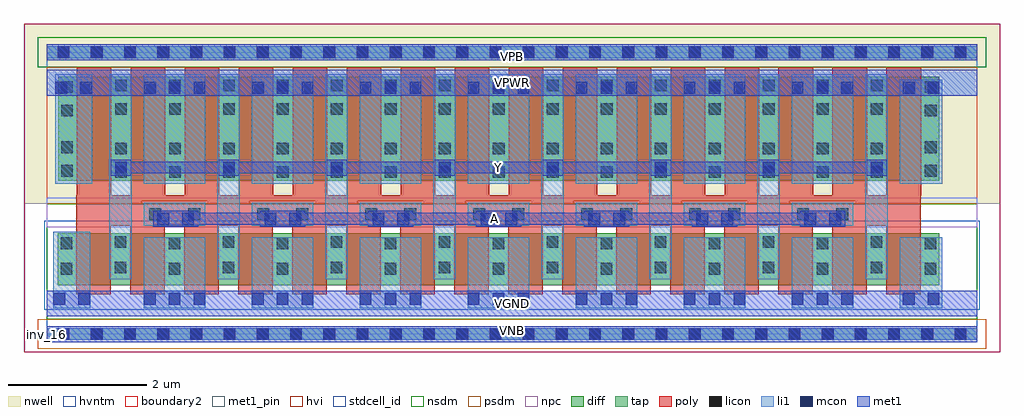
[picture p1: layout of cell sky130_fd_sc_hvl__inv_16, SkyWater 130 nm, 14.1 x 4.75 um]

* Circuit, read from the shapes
.subckt sky130_fd_sc_hvl__inv_16 A VGND VNB VPB VPWR Y
XM1 Y A VGND VNB sky130_fd_pr__nfet_g5v0d10v5 w=0.75 l=0.5 m=16
XM2 Y A VPWR VPB sky130_fd_pr__pfet_g5v0d10v5 w=1.5 l=0.5 m=16
.ends

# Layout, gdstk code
import gdstk
lib = gdstk.Library(unit=1e-6, precision=1e-09)
def R(c, l, rs):  # rectangles x0, y0, x1, y1
    for r in rs: c.add(gdstk.rectangle(r[:2], r[2:], *l))
def A(c, l, x, y, w, h, nx, ny, dx, dy):  # array of equal rectangles
    R(c, l, [(x+i*dx, y+j*dy, x+i*dx+w, y+j*dy+h) for i in range(nx) for j in range(ny)])
def P(c, l, *ps):  # polygons
    for p in ps: c.add(gdstk.Polygon(p, *l))
nwell = (64, 20)
diff = (65, 20)
tap = (65, 44)
poly = (66, 20)
licon = (66, 44)
li1 = (67, 20)
mcon = (67, 44)
met1_pin = (68, 16)
met1 = (68, 20)
hvi = (75, 20)
stdcell_id = (81, 4)
nsdm = (93, 44)
psdm = (94, 20)
npc = (95, 20)
hvntm = (125, 20)
boundary2 = (236, 0)

sky130_fd_sc_hvl__inv_16 = lib.new_cell('sky130_fd_sc_hvl__inv_16')
R(sky130_fd_sc_hvl__inv_16, nwell, [(-0.33,1.885,13.77,4.485)])
R(sky130_fd_sc_hvl__inv_16, diff, [(0.16,0.705,12.895,1.455), (0.165,2.215,12.895,3.715)])
R(sky130_fd_sc_hvl__inv_16, tap, [(0,-0.085,13.44,0.085), (0,3.985,13.44,4.155)])
P(sky130_fd_sc_hvl__inv_16, poly, [(12.63,3.845),(12.13,3.845),(12.13,2.005),(11.85,2.005),(11.85,3.845),(11.35,3.845),(11.35,2.005),(11.07,2.005),(11.07,3.845),(10.57,3.845),(10.57,2.005),(10.29,2.005),(10.29,3.845),(9.79,3.845),(9.79,2.005),(9.51,2.005),(9.51,3.845),(9.01,3.845),(9.01,2.005),(8.73,2.005),(8.73,3.845),(8.23,3.845),(8.23,2.005),(7.95,2.005),(7.95,3.845),(7.45,3.845),(7.45,2.005),(7.17,2.005),(7.17,3.845),(6.67,3.845),(6.67,2.005),(6.39,2.005),(6.39,3.845),(5.89,3.845),(5.89,2.005),(5.61,2.005),(5.61,3.845),(5.11,3.845),(5.11,2.005),(4.83,2.005),(4.83,3.845),(4.33,3.845),(4.33,2.005),(4.05,2.005),(4.05,3.845),(3.55,3.845),(3.55,2.005),(3.27,2.005),(3.27,3.845),(2.77,3.845),(2.77,2.005),(2.49,2.005),(2.49,3.845),(1.99,3.845),(1.99,2.005),(1.71,2.005),(1.71,3.845),(1.21,3.845),(1.21,2.005),(0.93,2.005),(0.93,3.845),(0.43,3.845),(0.43,2.005),(0.425,2.005),(0.425,0.575),(0.925,0.575),(0.925,1.565),(1.205,1.565),(1.205,0.575),(1.705,0.575),(1.705,1.565),(1.985,1.565),(1.985,0.575),(2.485,0.575),(2.485,1.565),(2.765,1.565),(2.765,0.575),(3.265,0.575),(3.265,1.565),(3.545,1.565),(3.545,0.575),(4.045,0.575),(4.045,1.565),(4.325,1.565),(4.325,0.575),(4.825,0.575),(4.825,1.565),(5.105,1.565),(5.105,0.575),(5.605,0.575),(5.605,1.565),(5.885,1.565),(5.885,0.575),(6.385,0.575),(6.385,1.565),(6.665,1.565),(6.665,0.575),(7.165,0.575),(7.165,1.565),(7.445,1.565),(7.445,0.575),(7.945,0.575),(7.945,1.565),(8.225,1.565),(8.225,0.575),(8.725,0.575),(8.725,1.565),(9.005,1.565),(9.005,0.575),(9.505,0.575),(9.505,1.565),(9.785,1.565),(9.785,0.575),(10.285,0.575),(10.285,1.565),(10.565,1.565),(10.565,0.575),(11.065,0.575),(11.065,1.565),(11.345,1.565),(11.345,0.575),(11.845,0.575),(11.845,1.565),(12.125,1.565),(12.125,0.575),(12.625,0.575),(12.625,2),(12.63,2)])
A(sky130_fd_sc_hvl__inv_16, licon, 0.155, -0.085, 0.17, 0.17, 28, 2, 0.48, 4.07)
A(sky130_fd_sc_hvl__inv_16, licon, 0.2, 0.86, 0.17, 0.17, 9, 2, 1.56, 0.365)
A(sky130_fd_sc_hvl__inv_16, licon, 0.98, 0.875, 0.17, 0.17, 8, 2, 1.56, 0.37)
A(sky130_fd_sc_hvl__inv_16, licon, 0.985, 2.255, 0.17, 0.17, 15, 2, 0.78, 0.34)
A(sky130_fd_sc_hvl__inv_16, licon, 0.985, 3.165, 0.17, 0.17, 15, 2, 0.78, 0.34)
R(sky130_fd_sc_hvl__inv_16, licon, [(1.48,1.645,1.65,1.815), (2.045,1.645,2.215,1.815), (3.04,1.645,3.21,1.815), (3.605,1.645,3.775,1.815), (4.6,1.645,4.77,1.815), (5.165,1.645,5.335,1.815), (6.16,1.645,6.33,1.815), (6.725,1.645,6.895,1.815), (7.72,1.645,7.89,1.815), (8.285,1.645,8.455,1.815), (9.28,1.645,9.45,1.815), (9.845,1.645,10.015,1.815), (10.84,1.645,11.01,1.815), (11.405,1.645,11.575,1.815), (0.205,2.275,0.375,2.445), (12.685,2.275,12.855,2.445), (0.205,2.615,0.375,2.785), (12.685,2.615,12.855,2.785), (0.205,3.145,0.375,3.315), (12.685,3.145,12.855,3.315), (0.205,3.485,0.375,3.655), (12.685,3.485,12.855,3.655)])
A(sky130_fd_sc_hvl__inv_16, li1, 1.4, 0.375, 0.89, 1.02, 7, 1, 1.56, 0)
A(sky130_fd_sc_hvl__inv_16, li1, 0.9, 0.795, 0.33, 2.96, 8, 1, 1.56, 0)
A(sky130_fd_sc_hvl__inv_16, li1, 1.4, 1.565, 0.89, 0.33, 7, 1, 1.56, 0)
A(sky130_fd_sc_hvl__inv_16, li1, 1.4, 2.175, 0.89, 1.58, 7, 1, 1.56, 0)
R(sky130_fd_sc_hvl__inv_16, li1, [(0,-0.085,13.44,0.085), (0.095,0.375,0.63,1.475), (12.32,0.375,12.935,1.395), (0.125,2.175,0.655,3.755), (12.32,2.175,12.935,3.675), (0,3.985,13.44,4.155)])
A(sky130_fd_sc_hvl__inv_16, mcon, 1.4, 0.425, 0.17, 0.17, 3, 2, 0.36, 3.05)
A(sky130_fd_sc_hvl__inv_16, mcon, 2.96, 0.425, 0.17, 0.17, 3, 2, 0.36, 3.05)
A(sky130_fd_sc_hvl__inv_16, mcon, 4.52, 0.425, 0.17, 0.17, 3, 2, 0.36, 3.05)
A(sky130_fd_sc_hvl__inv_16, mcon, 6.08, 0.425, 0.17, 0.17, 3, 2, 0.36, 3.05)
A(sky130_fd_sc_hvl__inv_16, mcon, 7.64, 0.425, 0.17, 0.17, 3, 2, 0.36, 3.05)
A(sky130_fd_sc_hvl__inv_16, mcon, 9.2, 0.425, 0.17, 0.17, 3, 2, 0.36, 3.05)
A(sky130_fd_sc_hvl__inv_16, mcon, 10.76, 0.425, 0.17, 0.17, 3, 2, 0.36, 3.05)
A(sky130_fd_sc_hvl__inv_16, mcon, 0.985, 2.32, 0.17, 0.17, 8, 1, 1.56, 0)
R(sky130_fd_sc_hvl__inv_16, mcon, [(0.155,-0.085,0.325,0.085), (0.155,-0.085,0.325,0.085), (0.635,-0.085,0.805,0.085), (0.635,-0.085,0.805,0.085), (1.115,-0.085,1.285,0.085), (1.115,-0.085,1.285,0.085), (1.595,-0.085,1.765,0.085), (1.595,-0.085,1.765,0.085), (2.075,-0.085,2.245,0.085), (2.075,-0.085,2.245,0.085), (2.555,-0.085,2.725,0.085), (2.555,-0.085,2.725,0.085), (3.035,-0.085,3.205,0.085), (3.035,-0.085,3.205,0.085), (3.515,-0.085,3.685,0.085), (3.515,-0.085,3.685,0.085), (3.995,-0.085,4.165,0.085), (3.995,-0.085,4.165,0.085), (4.475,-0.085,4.645,0.085), (4.475,-0.085,4.645,0.085), (4.955,-0.085,5.125,0.085), (4.955,-0.085,5.125,0.085), (5.435,-0.085,5.605,0.085), (5.435,-0.085,5.605,0.085), (5.915,-0.085,6.085,0.085), (5.915,-0.085,6.085,0.085), (6.395,-0.085,6.565,0.085), (6.395,-0.085,6.565,0.085), (6.875,-0.085,7.045,0.085), (6.875,-0.085,7.045,0.085), (7.355,-0.085,7.525,0.085), (7.355,-0.085,7.525,0.085), (7.835,-0.085,8.005,0.085), (7.835,-0.085,8.005,0.085), (8.315,-0.085,8.485,0.085), (8.315,-0.085,8.485,0.085), (8.795,-0.085,8.965,0.085), (8.795,-0.085,8.965,0.085), (9.275,-0.085,9.445,0.085), (9.275,-0.085,9.445,0.085), (9.755,-0.085,9.925,0.085), (9.755,-0.085,9.925,0.085), (10.235,-0.085,10.405,0.085), (10.235,-0.085,10.405,0.085), (10.715,-0.085,10.885,0.085), (10.715,-0.085,10.885,0.085), (11.195,-0.085,11.365,0.085), (11.195,-0.085,11.365,0.085), (11.675,-0.085,11.845,0.085), (11.675,-0.085,11.845,0.085), (12.155,-0.085,12.325,0.085), (12.155,-0.085,12.325,0.085), (12.635,-0.085,12.805,0.085), (12.635,-0.085,12.805,0.085), (13.115,-0.085,13.285,0.085), (13.115,-0.085,13.285,0.085), (0.095,0.425,0.265,0.595), (0.455,0.425,0.625,0.595), (12.365,0.425,12.535,0.595), (12.725,0.425,12.895,0.595), (1.595,1.58,1.765,1.75), (1.955,1.58,2.125,1.75), (3.145,1.58,3.315,1.75), (3.505,1.58,3.675,1.75), (4.705,1.58,4.875,1.75), (5.065,1.58,5.235,1.75), (6.265,1.58,6.435,1.75), (6.625,1.58,6.795,1.75), (7.825,1.58,7.995,1.75), (8.185,1.58,8.355,1.75), (9.385,1.58,9.555,1.75), (9.745,1.58,9.915,1.75), (10.945,1.58,11.115,1.75), (11.305,1.58,11.475,1.75), (0.125,3.475,0.295,3.645), (0.485,3.475,0.655,3.645), (12.365,3.475,12.535,3.645), (12.725,3.475,12.895,3.645), (0.155,3.985,0.325,4.155), (0.155,3.985,0.325,4.155), (0.635,3.985,0.805,4.155), (0.635,3.985,0.805,4.155), (1.115,3.985,1.285,4.155), (1.115,3.985,1.285,4.155), (1.595,3.985,1.765,4.155), (1.595,3.985,1.765,4.155), (2.075,3.985,2.245,4.155), (2.075,3.985,2.245,4.155), (2.555,3.985,2.725,4.155), (2.555,3.985,2.725,4.155), (3.035,3.985,3.205,4.155), (3.035,3.985,3.205,4.155), (3.515,3.985,3.685,4.155), (3.515,3.985,3.685,4.155), (3.995,3.985,4.165,4.155), (3.995,3.985,4.165,4.155), (4.475,3.985,4.645,4.155), (4.475,3.985,4.645,4.155), (4.955,3.985,5.125,4.155), (4.955,3.985,5.125,4.155), (5.435,3.985,5.605,4.155), (5.435,3.985,5.605,4.155), (5.915,3.985,6.085,4.155), (5.915,3.985,6.085,4.155), (6.395,3.985,6.565,4.155), (6.395,3.985,6.565,4.155), (6.875,3.985,7.045,4.155), (6.875,3.985,7.045,4.155), (7.355,3.985,7.525,4.155), (7.355,3.985,7.525,4.155), (7.835,3.985,8.005,4.155), (7.835,3.985,8.005,4.155), (8.315,3.985,8.485,4.155), (8.315,3.985,8.485,4.155), (8.795,3.985,8.965,4.155), (8.795,3.985,8.965,4.155), (9.275,3.985,9.445,4.155), (9.275,3.985,9.445,4.155), (9.755,3.985,9.925,4.155), (9.755,3.985,9.925,4.155), (10.235,3.985,10.405,4.155), (10.235,3.985,10.405,4.155), (10.715,3.985,10.885,4.155), (10.715,3.985,10.885,4.155), (11.195,3.985,11.365,4.155), (11.195,3.985,11.365,4.155), (11.675,3.985,11.845,4.155), (11.675,3.985,11.845,4.155), (12.155,3.985,12.325,4.155), (12.155,3.985,12.325,4.155), (12.635,3.985,12.805,4.155), (12.635,3.985,12.805,4.155), (13.115,3.985,13.285,4.155), (13.115,3.985,13.285,4.155)])
R(sky130_fd_sc_hvl__inv_16, met1_pin, [(0,0,13.44,0.115), (0,0,13.44,0.115), (0,0.255,13.44,0.625), (1.535,1.58,11.535,1.75), (0.925,2.32,12.135,2.49), (0,3.445,13.44,3.815), (0,3.955,13.44,4.07), (0,3.955,13.44,4.07)])
A(sky130_fd_sc_hvl__inv_16, met1, 0.925, 2.29, 0.29, 0.23, 8, 1, 1.56, 0)
R(sky130_fd_sc_hvl__inv_16, met1, [(0,-0.115,13.44,0.115), (0,0.255,13.44,0.625), (0.925,2.32,12.135,2.49), (0,3.445,13.44,3.815), (0,3.955,13.44,4.185)])
P(sky130_fd_sc_hvl__inv_16, met1, [(11.535,1.78),(10.885,1.78),(10.885,1.75),(9.975,1.75),(9.975,1.78),(9.325,1.78),(9.325,1.75),(8.415,1.75),(8.415,1.78),(7.765,1.78),(7.765,1.75),(6.855,1.75),(6.855,1.78),(6.205,1.78),(6.205,1.75),(5.295,1.75),(5.295,1.78),(4.645,1.78),(4.645,1.75),(3.735,1.75),(3.735,1.78),(3.085,1.78),(3.085,1.75),(2.185,1.75),(2.185,1.78),(1.535,1.78),(1.535,1.55),(2.185,1.55),(2.185,1.58),(3.085,1.58),(3.085,1.55),(3.735,1.55),(3.735,1.58),(4.645,1.58),(4.645,1.55),(5.295,1.55),(5.295,1.58),(6.205,1.58),(6.205,1.55),(6.855,1.55),(6.855,1.58),(7.765,1.58),(7.765,1.55),(8.415,1.55),(8.415,1.58),(9.325,1.58),(9.325,1.55),(9.975,1.55),(9.975,1.58),(10.885,1.58),(10.885,1.55),(11.535,1.55)])
R(sky130_fd_sc_hvl__inv_16, hvi, [(-0.33,-0.265,13.77,4.485)])
R(sky130_fd_sc_hvl__inv_16, stdcell_id, [(0,0,13.44,4.07)])
R(sky130_fd_sc_hvl__inv_16, nsdm, [(0,0.215,13.44,1.885), (-0.13,3.855,13.57,4.285), (0,3.855,13.44,4.07)])
R(sky130_fd_sc_hvl__inv_16, psdm, [(-0.13,-0.215,13.57,0.215)])
P(sky130_fd_sc_hvl__inv_16, psdm, [(13.44,3.855),(0,3.855),(0,1.885),(1.37,1.885),(1.37,1.925),(2.325,1.925),(2.325,1.885),(2.93,1.885),(2.93,1.925),(3.885,1.925),(3.885,1.885),(4.49,1.885),(4.49,1.925),(5.445,1.925),(5.445,1.885),(6.05,1.885),(6.05,1.925),(7.005,1.925),(7.005,1.885),(7.61,1.885),(7.61,1.925),(8.565,1.925),(8.565,1.885),(9.17,1.885),(9.17,1.925),(10.125,1.925),(10.125,1.885),(10.73,1.885),(10.73,1.925),(11.685,1.925),(11.685,1.885),(13.44,1.885)])
R(sky130_fd_sc_hvl__inv_16, npc, [(0,1.545,13.44,1.97)])
R(sky130_fd_sc_hvl__inv_16, hvntm, [(-0.035,0.35,13.475,1.64)])
R(sky130_fd_sc_hvl__inv_16, boundary2, [(0,0,13.44,4.07)])
sky130_fd_sc_hvl__inv_16.add(gdstk.Label('inv_16', (0,0), layer=83, texttype=44))
sky130_fd_sc_hvl__inv_16.add(gdstk.Label('Y', (6.53,2.405), layer=68, texttype=5))
sky130_fd_sc_hvl__inv_16.add(gdstk.Label('A', (6.47,1.665), layer=68, texttype=5))
sky130_fd_sc_hvl__inv_16.add(gdstk.Label('VNB', (6.72,0.058), layer=68, texttype=5))
sky130_fd_sc_hvl__inv_16.add(gdstk.Label('VPWR', (6.72,3.63), layer=68, texttype=5))
sky130_fd_sc_hvl__inv_16.add(gdstk.Label('VPB', (6.72,4.013), layer=68, texttype=5))
sky130_fd_sc_hvl__inv_16.add(gdstk.Label('VPB', (6.72,4.013), layer=68, texttype=5))
sky130_fd_sc_hvl__inv_16.add(gdstk.Label('VGND', (6.72,0.44), layer=68, texttype=5))
sky130_fd_sc_hvl__inv_16.add(gdstk.Label('VNB', (6.72,0.058), layer=68, texttype=5))

lib.write_gds('sky130_fd_sc_hvl__inv_16.gds')
